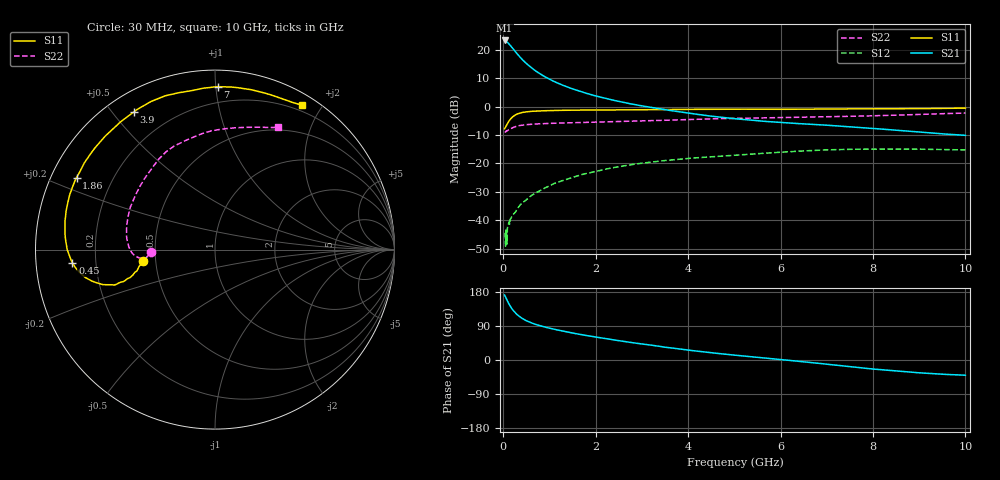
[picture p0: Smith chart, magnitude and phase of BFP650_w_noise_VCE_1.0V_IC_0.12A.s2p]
! Infineon Technologies  Discrete & RF Semiconductors
! BFP650
! VCE =  1.0 V,  IC = 0.12 A
! Common Emitter S-Parameters:  Jan 2016
# GHz  S  MA  R  50
!  f  S11  S21  S12  S22
! GHz  MAG  ANG  MAG  ANG  MAG  ANG  MAG  ANG
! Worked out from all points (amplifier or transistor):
!   229 points, 30 MHz to 10 GHz, reference 50 ohm
!   highest |S21| = 23.3 dB at 30 MHz (marker M1)
!   |S21| within 3 dB of that: start of sweep to 216.8 MHz
!   unconditionally stable (mu >= 1): start of sweep to end of sweep
!   at 280 MHz: K = 1.83, MAG = 22.5 dB, |S12| = -36.7 dB
!   at 1.78 GHz: K = 1.28, MAG = 11.0 dB, |S12| = -23.6 dB
!   at 10 GHz: K = 1.19, MAG = 0.0 dB, |S12| = -15.2 dB
!   lowest NFmin = 1.60 dB at 450 MHz
!   S11 on the Smith chart (normalised r, x): 30 MHz: 0.42, -0.06; 450 MHz: 0.11, -0.05; 1.86 GHz: 0.07, +0.24; 3.9 GHz: 0.08, +0.57; 7 GHz: 0.10, +1.01; 10 GHz: 0.13, +1.76
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0.03  0.4069 -171.0  14.55 171.4  0.0059 35.8  0.3593 -178.3
0.05  0.4318 -167.7  14.15 166.1  0.0035 67.0  0.3573 -176.6
0.07  0.465 -164.1  13.93 160.9  0.0066 54.1  0.377 -175.4
0.08  0.4788 -162.8  13.73 158.0  0.0038 65.7  0.37 -174.7
0.11  0.5327 -160.9  13.04 150.8  0.008 56.9  0.3865 -173.1
0.15  0.5927 -160.6  11.99 142.2  0.0103 47.3  0.4028 -173.1
0.2  0.6555 -162.7  10.72 133.1  0.0122 58.6  0.4228 -173.6
0.3  0.7381 -167.8  8.492 119.8  0.0156 60.6  0.4523 -176.2
0.36  0.7669 -170.7  7.46 114.0  0.0183 59.0  0.4641 -177.9
0.45  0.7975 -174.6  6.254 106.8  0.0213 61.1  0.4756 179.5
0.6  0.8235 -180.0  4.875 98.3  0.0269 61.1  0.4882 175.6
0.9  0.8445 172.0  3.343 87.0  0.0369 60.1  0.5012 169.1
1.22  0.8575 164.9  2.503 77.9  0.0478 59.0  0.5122 163.0
1.7  0.8677 155.5  1.811 66.8  0.0636 55.1  0.5242 155.0
1.86  0.8688 152.5  1.655 63.4  0.0682 53.2  0.5285 152.3
3.4  0.8829 127.9  0.908 35.7  0.11 35.1  0.5702 129.1
3.9  0.8905 120.6  0.788 27.7  0.1205 29.2  0.5894 122.9
5.1  0.8994 107.0  0.602 11.7  0.1411 17.5  0.621 110.6
6.8  0.9045 91.2  0.48 -8.5  0.17 0.1  0.6574 93.3
7  0.908 89.1  0.47 -11.1  0.1731 -2.2  0.6622 91.6
8.4  0.9152 72.3  0.39 -28.0  0.1789 -17.6  0.7021 76.0
10  0.9388 59.1  0.312 -40.1  0.1728 -29.5  0.7679 62.7
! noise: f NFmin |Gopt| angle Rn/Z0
0.45  1.6  0.6  -171  0.06
0.9  1.62  0.61  -164  0.07
1.9  1.77  0.62  -149  0.11
2.4  1.88  0.61  -140  0.16
3.5  2.06  0.62  -118  0.29
